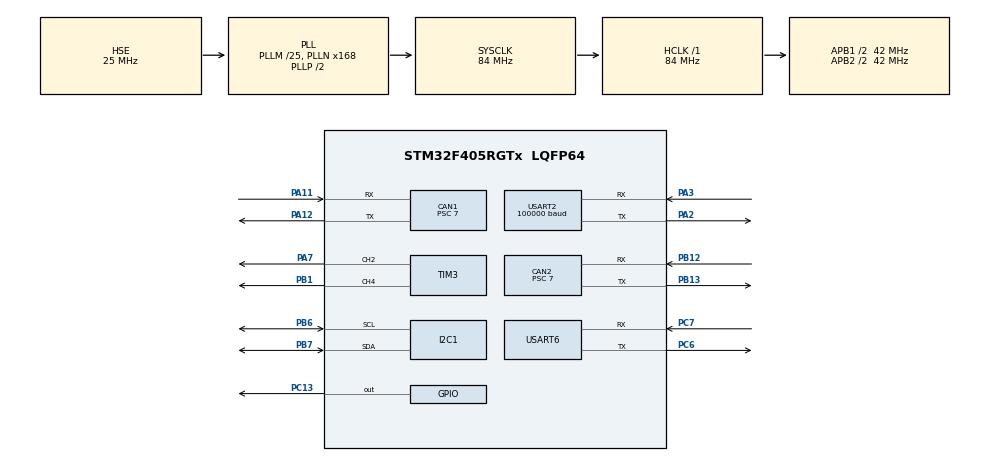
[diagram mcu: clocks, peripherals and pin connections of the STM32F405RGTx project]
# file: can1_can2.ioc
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CAN1.BS1=CAN_BS1_3TQ
CAN1.BS2=CAN_BS2_2TQ
CAN1.CalculateBaudRate=999999
CAN1.CalculateTimeBit=1000
CAN1.CalculateTimeQuantum=166.66666666666669
CAN1.Mode=CAN_MODE_NORMAL
CAN1.Prescaler=7
CAN1.SJW=CAN_SJW_1TQ
CAN2.BS1=CAN_BS1_3TQ
CAN2.BS2=CAN_BS2_2TQ
CAN2.CalculateBaudRate=999999
CAN2.CalculateTimeBit=1000
CAN2.CalculateTimeQuantum=166.66666666666669
CAN2.Mode=CAN_MODE_NORMAL
CAN2.Prescaler=7
CAN2.SJW=CAN_SJW_1TQ
Dma.Request0=USART6_RX
Dma.Request1=USART6_TX
Dma.Request2=USART2_RX
Dma.Request3=USART2_TX
Dma.USART2_RX.2.Direction=DMA_PERIPH_TO_MEMORY
Dma.USART2_RX.2.FIFOMode=DMA_FIFOMODE_DISABLE
Dma.USART2_RX.2.Instance=DMA1_Stream5
Dma.USART2_RX.2.MemDataAlignment=DMA_MDATAALIGN_BYTE
Dma.USART2_RX.2.MemInc=DMA_MINC_ENABLE
Dma.USART2_RX.2.Mode=DMA_CIRCULAR
Dma.USART2_RX.2.PeriphDataAlignment=DMA_PDATAALIGN_BYTE
Dma.USART2_RX.2.PeriphInc=DMA_PINC_DISABLE
Dma.USART2_RX.2.Priority=DMA_PRIORITY_VERY_HIGH
Dma.USART2_TX.3.Direction=DMA_MEMORY_TO_PERIPH
Dma.USART2_TX.3.FIFOMode=DMA_FIFOMODE_DISABLE
Dma.USART2_TX.3.Instance=DMA1_Stream6
Dma.USART2_TX.3.MemDataAlignment=DMA_MDATAALIGN_BYTE
Dma.USART2_TX.3.MemInc=DMA_MINC_ENABLE
Dma.USART2_TX.3.Mode=DMA_CIRCULAR
Dma.USART2_TX.3.PeriphDataAlignment=DMA_PDATAALIGN_BYTE
Dma.USART2_TX.3.PeriphInc=DMA_PINC_DISABLE
Dma.USART2_TX.3.Priority=DMA_PRIORITY_VERY_HIGH
Dma.USART6_RX.0.Direction=DMA_PERIPH_TO_MEMORY
Dma.USART6_RX.0.FIFOMode=DMA_FIFOMODE_DISABLE
Dma.USART6_RX.0.Instance=DMA2_Stream1
Dma.USART6_RX.0.MemDataAlignment=DMA_MDATAALIGN_BYTE
Dma.USART6_RX.0.MemInc=DMA_MINC_ENABLE
Dma.USART6_RX.0.Mode=DMA_NORMAL
Dma.USART6_RX.0.PeriphDataAlignment=DMA_PDATAALIGN_BYTE
Dma.USART6_RX.0.PeriphInc=DMA_PINC_DISABLE
Dma.USART6_RX.0.Priority=DMA_PRIORITY_LOW
Dma.USART6_TX.1.Direction=DMA_MEMORY_TO_PERIPH
Dma.USART6_TX.1.FIFOMode=DMA_FIFOMODE_DISABLE
Dma.USART6_TX.1.Instance=DMA2_Stream6
Dma.USART6_TX.1.MemDataAlignment=DMA_MDATAALIGN_BYTE
Dma.USART6_TX.1.MemInc=DMA_MINC_ENABLE
Dma.USART6_TX.1.Mode=DMA_NORMAL
Dma.USART6_TX.1.PeriphDataAlignment=DMA_PDATAALIGN_BYTE
Dma.USART6_TX.1.PeriphInc=DMA_PINC_DISABLE
Dma.USART6_TX.1.Priority=DMA_PRIORITY_LOW
FREERTOS.Tasks01=serial_Task,0,384,seria_task,Default,NULL,Dynamic,NULL,NULL;DJI_pid_task,-3,384,DJI_pid,Default,NULL,Dynamic,NULL,NULL;mpu_Task,-3,384,Mpu_tTask,Default,NULL,Dynamic,NULL,NULL;DR16_Task,-3,384,Start_DR16_Task,Default,NULL,Dynamic,NULL,NULL
Mcu.Family=STM32F4
Mcu.Name=STM32F405RGTx
Mcu.Package=LQFP64
NVIC.CAN1_RX0_IRQn=true\:5\:0\:false\:false\:true\:true\:true\:true\:true
NVIC.CAN1_TX_IRQn=true\:5\:0\:false\:false\:true\:true\:true\:true\:true
NVIC.CAN2_RX0_IRQn=true\:5\:0\:false\:false\:true\:true\:true\:true\:true
NVIC.CAN2_TX_IRQn=true\:5\:0\:false\:false\:true\:true\:true\:true\:true
NVIC.DMA1_Stream5_IRQn=true\:5\:0\:false\:false\:true\:true\:false\:true\:true
NVIC.DMA1_Stream6_IRQn=true\:5\:0\:false\:false\:true\:true\:false\:true\:true
NVIC.DMA2_Stream1_IRQn=true\:5\:0\:false\:false\:true\:true\:false\:true\:true
NVIC.DMA2_Stream6_IRQn=true\:5\:0\:false\:false\:true\:true\:false\:true\:true
NVIC.PriorityGroup=NVIC_PRIORITYGROUP_4
NVIC.TIM8_BRK_TIM12_IRQn=true\:15\:0\:false\:false\:true\:false\:false\:true\:true
NVIC.TimeBase=TIM8_BRK_TIM12_IRQn
NVIC.TimeBaseIP=TIM12
NVIC.USART2_IRQn=true\:5\:0\:false\:false\:true\:true\:true\:true\:true
NVIC.USART6_IRQn=true\:5\:0\:false\:false\:true\:true\:true\:true\:true
PA11.Mode=CAN_Activate
PA11.Signal=CAN1_RX
PA12.Mode=CAN_Activate
PA12.Signal=CAN1_TX
PA13.Mode=Serial_Wire
PA13.Signal=SYS_JTMS-SWDIO
PA14.Mode=Serial_Wire
PA14.Signal=SYS_JTCK-SWCLK
PA2.Mode=Asynchronous
PA2.Signal=USART2_TX
PA3.Mode=Asynchronous
PA3.Signal=USART2_RX
PA7.Signal=S_TIM3_CH2
PB1.Signal=S_TIM3_CH4
PB12.Mode=CAN_Activate
PB12.Signal=CAN2_RX
PB13.Mode=CAN_Activate
PB13.Signal=CAN2_TX
PB6.Mode=I2C
PB6.Signal=I2C1_SCL
PB7.Mode=I2C
PB7.Signal=I2C1_SDA
PC13-ANTI_TAMP.Signal=GPIO_Output
PC14-OSC32_IN.Mode=LSE-External-Oscillator
PC14-OSC32_IN.Signal=RCC_OSC32_IN
PC15-OSC32_OUT.Mode=LSE-External-Oscillator
PC15-OSC32_OUT.Signal=RCC_OSC32_OUT
PC6.Mode=Asynchronous
PC6.Signal=USART6_TX
PC7.Mode=Asynchronous
PC7.Signal=USART6_RX
PH0-OSC_IN.Mode=HSE-External-Oscillator
PH0-OSC_IN.Signal=RCC_OSC_IN
PH1-OSC_OUT.Mode=HSE-External-Oscillator
PH1-OSC_OUT.Signal=RCC_OSC_OUT
ProjectManager.HeapSize=0x200
ProjectManager.StackSize=0x400
ProjectManager.TargetToolchain=MDK-ARM V5.32
RCC.48MHZClocksFreq_Value=42000000
RCC.AHBFreq_Value=84000000
RCC.APB1CLKDivider=RCC_HCLK_DIV2
RCC.APB1Freq_Value=42000000
RCC.APB1TimFreq_Value=84000000
RCC.APB2CLKDivider=RCC_HCLK_DIV2
RCC.APB2Freq_Value=42000000
RCC.APB2TimFreq_Value=84000000
RCC.CortexFreq_Value=84000000
RCC.HCLKFreq_Value=84000000
RCC.HSE_VALUE=25000000
RCC.HSI_VALUE=16000000
RCC.PLLM=25
RCC.PLLN=168
RCC.PLLSourceVirtual=RCC_PLLSOURCE_HSE
RCC.SYSCLKFreq_VALUE=84000000
RCC.SYSCLKSource=RCC_SYSCLKSOURCE_PLLCLK
RCC.VCOOutputFreq_Value=168000000
SH.S_TIM3_CH2.0=TIM3_CH2,PWM Generation2 CH2
SH.S_TIM3_CH4.0=TIM3_CH4,PWM Generation4 CH4
TIM3.Channel-PWM\ Generation2\ CH2=TIM_CHANNEL_2
TIM3.Channel-PWM\ Generation4\ CH4=TIM_CHANNEL_4
USART2.BaudRate=100000
USART2.Parity=PARITY_EVEN
USART2.VirtualMode=VM_ASYNC
USART6.VirtualMode=VM_ASYNC
VP_FREERTOS_VS_CMSIS_V1.Mode=CMSIS_V1
VP_SYS_VS_tim12.Mode=TIM12
board=custom

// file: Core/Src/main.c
/* USER CODE BEGIN Header */
/**
  ******************************************************************************
  * @file           : main.c
  * @brief          : Main program body
  ******************************************************************************
  * @attention
  *
  * Copyright (c) 2024 STMicroelectronics.
  * All rights reserved.
  *
  * This software is licensed under terms that can be found in the LICENSE file
  * in the root directory of this software component.
  * If no LICENSE file comes with this software, it is provided AS-IS.
  *
  ******************************************************************************
  */
/* USER CODE END Header */
#include "main.h"
#include "cmsis_os.h"
#include "can.h"
#include "dma.h"
#include "i2c.h"
#include "tim.h"
#include "usart.h"
#include "gpio.h"

/* USER CODE BEGIN Includes */

#include "stdio.h"

#include "MY_CAN.h"
#include "MPU6050.h"
#include "PID.h"
#include "string.h"
#include "stdlib.h"

/* USER CODE END Includes */

void SystemClock_Config(void);
void MX_FREERTOS_Init(void);

/* USER CODE BEGIN 0 */

//extern  moto_info_t  motor_yaw_info; //收反馈报文结构体

//
//float pitch, roll, yaw;

//
// CAN_TxHeaderTypeDef TxMessage;
// CascadePID mypid = {0}; //创建串级PID结构体变量
//
//
// uint8_t Serial_data[1000];
//

//    float angleTarget,Feedback;
//   int32_t speedTarget;

//
//float outerTarget;

//float outerFeedback;
//float innerFeedback;
//
// motor_angle Angle={0};

/* USER CODE END 0 */

int main(void)
{

  /* MCU Configuration--------------------------------------------------------*/

  /* Reset of all peripherals, Initializes the Flash interface and the Systick. */
  HAL_Init();

  /* Configure the system clock */
  SystemClock_Config();

  /* Initialize all configured peripherals */
  MX_GPIO_Init();
  MX_DMA_Init();
  MX_CAN1_Init();
  MX_CAN2_Init();
  MX_I2C1_Init();
  MX_USART6_UART_Init();
  MX_TIM3_Init();
  MX_USART2_UART_Init();
  /* USER CODE BEGIN 2 */

//	can1_init();
//
//	HAL_UARTEx_ReceiveToIdle_IT(&huart2,Serial_data,100);
//

//   Pid_Init(&mypid.inner, 28, 0.01, 3, 25000, 25000,50); //初始化内环参数
//   Pid_Init(&mypid.outer,30, 0.3,25, 8000, 8191,30); //初始化外环参数

  //mypid.outer.maxIntegral;
  // CAN1_Send_Test(TxMessage,0);

  /* USER CODE END 2 */

  /* Call init function for freertos objects (in freertos.c) */
  MX_FREERTOS_Init();

  /* Start scheduler */
  osKernelStart();
  /* We should never get here as control is now taken by the scheduler */
  /* Infinite loop */
  /* USER CODE BEGIN WHILE */
  while (1)
  {

//	           innerFeedback = motor_yaw_info.rotor_speed ;
//			   outerFeedback = motor_yaw_info.rotor_angle ; //获取外环反馈值
//
//
//	          update_angle(&Angle,outerFeedback);
//
//                PID_Calc(&(mypid.outer),angleTarget,Angle.angle);
//
//	            PID_Calc(&(mypid.inner),mypid.outer.output,innerFeedback);
//
//
//
//
//
//	   CAN1_Send_Test(TxMessage,mypid.inner.output);
//
//        printf("%f,%f\n",angleTarget,Angle.angle );

//			HAL_Delay(1);
//
//

    /* USER CODE END WHILE */

  }
}

void SystemClock_Config(void)
{
  RCC_OscInitTypeDef RCC_OscInitStruct = {0};
  RCC_ClkInitTypeDef RCC_ClkInitStruct = {0};

  /** Configure the main internal regulator output voltage
  */
  __HAL_RCC_PWR_CLK_ENABLE();
  __HAL_PWR_VOLTAGESCALING_CONFIG(PWR_REGULATOR_VOLTAGE_SCALE1);

  /** Initializes the RCC Oscillators according to the specified parameters
  * in the RCC_OscInitTypeDef structure.
  */
  RCC_OscInitStruct.OscillatorType = RCC_OSCILLATORTYPE_HSE;
  RCC_OscInitStruct.HSEState = RCC_HSE_ON;
  RCC_OscInitStruct.PLL.PLLState = RCC_PLL_ON;
  RCC_OscInitStruct.PLL.PLLSource = RCC_PLLSOURCE_HSE;
  RCC_OscInitStruct.PLL.PLLM = 25;
  RCC_OscInitStruct.PLL.PLLN = 168;
  RCC_OscInitStruct.PLL.PLLP = RCC_PLLP_DIV2;
  RCC_OscInitStruct.PLL.PLLQ = 4;
  if (HAL_RCC_OscConfig(&RCC_OscInitStruct) != HAL_OK)
  {
    Error_Handler();
  }

  /** Initializes the CPU, AHB and APB buses clocks
  */
  RCC_ClkInitStruct.ClockType = RCC_CLOCKTYPE_HCLK|RCC_CLOCKTYPE_SYSCLK
                              |RCC_CLOCKTYPE_PCLK1|RCC_CLOCKTYPE_PCLK2;
  RCC_ClkInitStruct.SYSCLKSource = RCC_SYSCLKSOURCE_PLLCLK;
  RCC_ClkInitStruct.AHBCLKDivider = RCC_SYSCLK_DIV1;
  RCC_ClkInitStruct.APB1CLKDivider = RCC_HCLK_DIV2;
  RCC_ClkInitStruct.APB2CLKDivider = RCC_HCLK_DIV2;

  if (HAL_RCC_ClockConfig(&RCC_ClkInitStruct, FLASH_LATENCY_2) != HAL_OK)
  {
    Error_Handler();
  }
}

/* USER CODE BEGIN 4 */

// void HAL_CAN_RxFifo0MsgPendingCallback(CAN_HandleTypeDef *hcan)//can接收回调函数
// {
//		uint8_t date_CAN1[8];//用于接收CAN1数据
//	//	uint8_t date_CAN2[8];//用于接收CAN2数据
//
//
//	if(hcan->Instance ==CAN1)
//	{
//		CAN_RxHeaderTypeDef RxHeader;  //创建接收报文结构体，只声明不配置
//		HAL_CAN_GetRxMessage(&hcan1, CAN_RX_FIFO0, &RxHeader, date_CAN1); //接收，CAN邮箱为0

//		switch(RxHeader.StdId)
//		{
//	  case 0x205:
//	{
//    motor_yaw_info.rotor_angle    = ((date_CAN1[0] << 8) | date_CAN1[1]);
//    motor_yaw_info.rotor_speed    = ((date_CAN1[2] << 8) | date_CAN1[3]);
//    motor_yaw_info.torque_current = ((date_CAN1[4] << 8) | date_CAN1[5]);
//    motor_yaw_info.temp           =   date_CAN1[6];
//		break;
//	}
//
//        }
//
//    }
//
//	else	if(hcan->Instance ==CAN2)
//	{
//
//	}
//
//
// }

//void HAL_UARTEx_RxEventCallback(UART_HandleTypeDef *huart, uint16_t Size)//空闲中断回调函数
//{

//

//
//	//HAL_UART_Transmit_DMA(&huart6,(uint8_t *)(data),Size);
//
//	 //     get_PIDdata(data);
//

//	     	HAL_UARTEx_ReceiveToIdle_IT(&huart6,data,100);
//}

/* USER CODE END 4 */

void HAL_TIM_PeriodElapsedCallback(TIM_HandleTypeDef *htim)
{
  if (htim->Instance == TIM12) {
    HAL_IncTick();
  }
}

void Error_Handler(void)
{
  __disable_irq();
  while (1)
  {
  }
}

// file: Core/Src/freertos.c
/* USER CODE BEGIN Header */
/**
  ******************************************************************************
  * File Name          : freertos.c
  * Description        : Code for freertos applications
  ******************************************************************************
  * @attention
  *
  * Copyright (c) 2024 STMicroelectronics.
  * All rights reserved.
  *
  * This software is licensed under terms that can be found in the LICENSE file
  * in the root directory of this software component.
  * If no LICENSE file comes with this software, it is provided AS-IS.
  *
  ******************************************************************************
  */
/* USER CODE END Header */

#include "FreeRTOS.h"
#include "task.h"
#include "main.h"
#include "cmsis_os.h"

/* USER CODE BEGIN Includes */
#include "MY_CAN.h"
#include "cmsis_os.h"
#include "can.h"
#include "dma.h"
#include "i2c.h"
#include "usart.h"
#include "DR16.h"
#include "gpio.h"
#include "MPU6050.h"
#include "stdio.h"
#include "MY_CAN.h"
#include "PID.h"
#include "string.h"
#include "stdlib.h"

/* USER CODE END Includes */

/* USER CODE BEGIN PD */

extern  moto_info_t  motor_yaw_info; //收反馈报文结构体

CAN_TxHeaderTypeDef TxMessage;
CascadePID mypid = {0}; //创建串级PID结构体变量

//uint8_t data[1000];//串口变量

float angleTarget,Feedback;//角度目标和编码器反馈

//float  num1,num2,num3,num4;

float outerTarget;//外环目标
float outerFeedback;//外环反馈
float innerFeedback;//内环反馈

motor_angle Angle={0};//角度更新变量

float pitch, roll, yaw;

extern rc_info_t rc ;
extern uint8_t   dbus_buf[DBUS_BUFLEN];

float outerTarget;

/* USER CODE END PD */

osThreadId serial_TaskHandle;
osThreadId DJI_pid_taskHandle;
osThreadId mpu_TaskHandle;
osThreadId DR16_TaskHandle;

void seria_task(void const * argument);
void DJI_pid(void const * argument);
void Mpu_tTask(void const * argument);
void Start_DR16_Task(void const * argument);

void MX_FREERTOS_Init(void); /* (MISRA C 2004 rule 8.1) */

/* GetIdleTaskMemory prototype (linked to static allocation support) */
void vApplicationGetIdleTaskMemory( StaticTask_t **ppxIdleTaskTCBBuffer, StackType_t **ppxIdleTaskStackBuffer, uint32_t *pulIdleTaskStackSize );

/* USER CODE BEGIN GET_IDLE_TASK_MEMORY */
static StaticTask_t xIdleTaskTCBBuffer;
static StackType_t xIdleStack[configMINIMAL_STACK_SIZE];

void vApplicationGetIdleTaskMemory( StaticTask_t **ppxIdleTaskTCBBuffer, StackType_t **ppxIdleTaskStackBuffer, uint32_t *pulIdleTaskStackSize )
{
  *ppxIdleTaskTCBBuffer = &xIdleTaskTCBBuffer;
  *ppxIdleTaskStackBuffer = &xIdleStack[0];
  *pulIdleTaskStackSize = configMINIMAL_STACK_SIZE;
  /* place for user code */
}
/* USER CODE END GET_IDLE_TASK_MEMORY */

void MX_FREERTOS_Init(void) {

  /* Create the thread(s) */
  /* definition and creation of serial_Task */
  osThreadDef(serial_Task, seria_task, osPriorityNormal, 0, 384);
  serial_TaskHandle = osThreadCreate(osThread(serial_Task), NULL);

  /* definition and creation of DJI_pid_task */
  osThreadDef(DJI_pid_task, DJI_pid, osPriorityIdle, 0, 384);
  DJI_pid_taskHandle = osThreadCreate(osThread(DJI_pid_task), NULL);

  /* definition and creation of mpu_Task */
  osThreadDef(mpu_Task, Mpu_tTask, osPriorityIdle, 0, 384);
  mpu_TaskHandle = osThreadCreate(osThread(mpu_Task), NULL);

  /* definition and creation of DR16_Task */
  osThreadDef(DR16_Task, Start_DR16_Task, osPriorityIdle, 0, 384);
  DR16_TaskHandle = osThreadCreate(osThread(DR16_Task), NULL);

}

void seria_task(void const * argument)
{
  /* USER CODE BEGIN seria_task */
  /* Infinite loop */
  for(;;)
  {

	  	//HAL_UARTEx_ReceiveToIdle_IT(&huart6,data,100); //开启串口中断，调参

    osDelay(1);
  }
  /* USER CODE END seria_task */
}

void DJI_pid(void const * argument)
{
  /* USER CODE BEGIN DJI_pid */

	can1_init();

   Pid_Init(&mypid.inner, 39, 15, 0, 25000, 25000,50); //初始化内环参数
  // Pid_Init(&mypid.outer,30, 0,0, 8000, 8191,30); //初始化外环参数

  /* Infinite loop */
  for(;;)
  {

		 taskENTER_CRITICAL() ;

			innerFeedback = motor_yaw_info.rotor_speed ;////获取内环反馈值
		//	outerFeedback = motor_yaw_info.rotor_angle ; //获取外环反馈值
			//rc.ch3*1.0

		//	update_angle(&Angle,outerFeedback);//角度更新

			//PID_Calc(&(mypid.outer),angleTarget,Angle.angle);	  //外环计算

			PID_Calc(&(mypid.inner),rc.ch3*1.0/660*330	,innerFeedback);//内环计算

			CAN1_Send_Test(TxMessage,mypid.inner.output);//发送串级计算值

          taskEXIT_CRITICAL() ;

		 // printf("%f,%f\n",outerTarget,Angle.angle );//搭配vofa绘制曲线
		  printf("%f,%f\n",rc.ch3*1.0/660*330,innerFeedback );//搭配vofa绘制曲线

    osDelay(1);
  }
  /* USER CODE END DJI_pid */
}

void Mpu_tTask(void const * argument)
{
  /* USER CODE BEGIN Mpu_tTask */
// taskENTER_CRITICAL() ;
//int ret;
//do
//{
//ret = MPU6050_DMP_init();
//}

//while(ret);
// taskEXIT_CRITICAL() ;
  /* Infinite loop */
  for(;;)
  {
//	 taskENTER_CRITICAL() ;
//
//	     MPU6050_DMP_Get_Date(&pitch, &roll, &yaw);//获取角度
//
//	  taskEXIT_CRITICAL() ;
//		 printf("%f\n pitch",pitch );
//		 printf("%f\n roll",roll );
//		 printf("%f\n yaw",yaw );//打印

       osDelay(1);
  }
  /* USER CODE END Mpu_tTask */
}

void Start_DR16_Task(void const * argument)
{
  /* USER CODE BEGIN Start_DR16_Task */

  dbus_uart_init();

//  HAL_UARTEx_ReceiveToIdle_IT(&huart6,dbus_buf,100);
  /* Infinite loop */
  for(;;)
  {
//		printf("%f\n ch0",rc.ch0*1.0 );
//		printf("%d\n ch1",rc.ch1 );
//		printf("%d\n ch2",rc.ch2 );//打印
//		printf("%f\n ch3",rc.ch3*1.0  );
//		printf("%d\n roll",rc.roll );
//		printf("%d\n sw1",rc.sw1 );
//		printf("%d\n sw2",rc.sw2 );
	//HAL_UARTEx_ReceiveToIdle_IT(&huart2,data,100);

    osDelay(1);
  }
  /* USER CODE END Start_DR16_Task */
}

/* USER CODE BEGIN Application */

 void HAL_CAN_RxFifo0MsgPendingCallback(CAN_HandleTypeDef *hcan)//can接收回调函数
 {
		uint8_t date_CAN1[8];//用于接收CAN1数据
	//	uint8_t date_CAN2[8];//用于接收CAN2数据

	if(hcan->Instance ==CAN1)
	{
		CAN_RxHeaderTypeDef RxHeader;  //创建接收报文结构体，只声明不配置
		HAL_CAN_GetRxMessage(&hcan1, CAN_RX_FIFO0, &RxHeader, date_CAN1); //接收，CAN邮箱为0

		switch(RxHeader.StdId)
		{
	  case 0x205:
	{
    motor_yaw_info.rotor_angle    = ((date_CAN1[0] << 8) | date_CAN1[1]);
    motor_yaw_info.rotor_speed    = ((date_CAN1[2] << 8) | date_CAN1[3]);
    motor_yaw_info.torque_current = ((date_CAN1[4] << 8) | date_CAN1[5]);
    motor_yaw_info.temp           =   date_CAN1[6];
		break;
	}

        }

    }

	else	if(hcan->Instance ==CAN2)
	{

	}

 }

/* USER CODE END Application */
